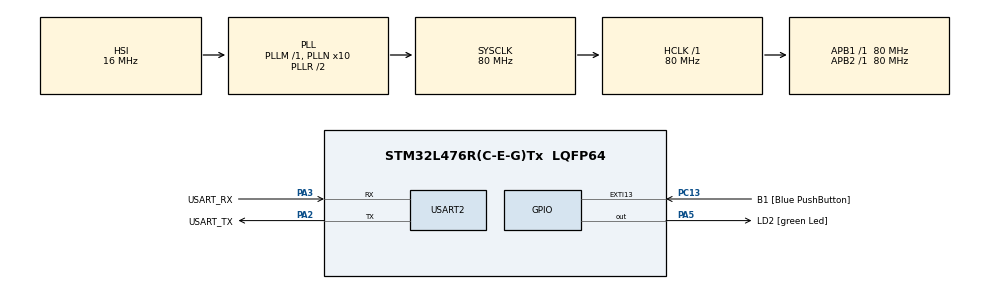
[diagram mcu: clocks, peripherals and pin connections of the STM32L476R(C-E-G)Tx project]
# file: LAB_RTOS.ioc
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FREERTOS.Tasks01=defaultTask,8,128,StartDefaultTask,Default,NULL,Dynamic,NULL,NULL;Blink1Task,24,128,Blink1,Default,NULL,Dynamic,NULL,NULL;Blink2Task,24,128,Blink2,Default,NULL,Dynamic,NULL,NULL;TriggTask,40,128,Trigg,Default,NULL,Dynamic,NULL,NULL;UserbuttonTask,40,128,Userbutton,Default,NULL,Dynamic,NULL,NULL
FREERTOS.configTOTAL_HEAP_SIZE=4000
FREERTOS.configUSE_NEWLIB_REENTRANT=1
Mcu.Family=STM32L4
Mcu.Name=STM32L476R(C-E-G)Tx
Mcu.Package=LQFP64
NVIC.PriorityGroup=NVIC_PRIORITYGROUP_4
NVIC.TIM1_UP_TIM16_IRQn=true\:15\:0\:false\:false\:true\:false\:false\:true\:true
NVIC.TimeBase=TIM1_UP_TIM16_IRQn
NVIC.TimeBaseIP=TIM1
PA13\ (JTMS-SWDIO).GPIO_Label=TMS
PA13\ (JTMS-SWDIO).Mode=Serial_Wire
PA13\ (JTMS-SWDIO).Signal=SYS_JTMS-SWDIO
PA14\ (JTCK-SWCLK).GPIO_Label=TCK
PA14\ (JTCK-SWCLK).Mode=Serial_Wire
PA14\ (JTCK-SWCLK).Signal=SYS_JTCK-SWCLK
PA2.GPIO_Label=USART_TX
PA2.GPIO_Mode=GPIO_MODE_AF_PP
PA2.GPIO_PuPd=GPIO_NOPULL
PA2.GPIO_Speed=GPIO_SPEED_FREQ_VERY_HIGH
PA2.Mode=Asynchronous
PA2.Signal=USART2_TX
PA3.GPIO_Label=USART_RX
PA3.GPIO_Mode=GPIO_MODE_AF_PP
PA3.GPIO_PuPd=GPIO_NOPULL
PA3.GPIO_Speed=GPIO_SPEED_FREQ_VERY_HIGH
PA3.Mode=Asynchronous
PA3.Signal=USART2_RX
PA5.GPIO_Label=LD2 [green Led]
PA5.GPIO_ModeDefaultOutputPP=GPIO_MODE_OUTPUT_PP
PA5.GPIO_PuPd=GPIO_NOPULL
PA5.GPIO_Speed=GPIO_SPEED_FREQ_LOW
PA5.Signal=GPIO_Output
PB3\ (JTDO-TRACESWO).GPIO_Label=SWO
PB3\ (JTDO-TRACESWO).Signal=SYS_JTDO-SWO
PC13.GPIO_Label=B1 [Blue PushButton]
PC13.GPIO_ModeDefaultEXTI=GPIO_MODE_IT_FALLING
PC13.GPIO_PuPd=GPIO_NOPULL
PC13.Signal=GPXTI13
PC14-OSC32_IN\ (PC14).Mode=LSE-External-Oscillator
PC14-OSC32_IN\ (PC14).Signal=RCC_OSC32_IN
PC15-OSC32_OUT\ (PC15).Mode=LSE-External-Oscillator
PC15-OSC32_OUT\ (PC15).Signal=RCC_OSC32_OUT
PH0-OSC_IN\ (PH0).Signal=RCC_OSC_IN
PH1-OSC_OUT\ (PH1).Signal=RCC_OSC_OUT
ProjectManager.HeapSize=0x200
ProjectManager.StackSize=0x400
ProjectManager.TargetToolchain=STM32CubeIDE
RCC.ADCFreq_Value=64000000
RCC.AHBFreq_Value=80000000
RCC.APB1Freq_Value=80000000
RCC.APB1TimFreq_Value=80000000
RCC.APB2Freq_Value=80000000
RCC.APB2TimFreq_Value=80000000
RCC.CortexFreq_Value=80000000
RCC.HCLKFreq_Value=80000000
RCC.HSE_VALUE=8000000
RCC.HSI_VALUE=16000000
RCC.MSI_VALUE=4000000
RCC.PLLN=10
RCC.PLLSourceVirtual=RCC_PLLSOURCE_HSI
RCC.PREFETCH_ENABLE=1
RCC.SYSCLKFreq_VALUE=80000000
RCC.SYSCLKSource=RCC_SYSCLKSOURCE_PLLCLK
RCC.USBFreq_Value=64000000
RCC.VCOOutputFreq_Value=160000000
USART2.VirtualMode-Asynchronous=VM_ASYNC
VP_FREERTOS_VS_CMSIS_V2.Mode=CMSIS_V2
VP_SYS_VS_tim1.Mode=TIM1
board=NUCLEO-L476RG

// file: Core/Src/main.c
/* USER CODE BEGIN Header */
/**
  ******************************************************************************
  * @file           : main.c
  * @brief          : Main program body
  ******************************************************************************
  * @attention
  *
  * Copyright (c) 2026 STMicroelectronics.
  * All rights reserved.
  *
  * This software is licensed under terms that can be found in the LICENSE file
  * in the root directory of this software component.
  * If no LICENSE file comes with this software, it is provided AS-IS.
  *
  ******************************************************************************
  */
/* USER CODE END Header */
#include "main.h"
#include "cmsis_os.h"
#include "usart.h"
#include "gpio.h"

void SystemClock_Config(void);
void MX_FREERTOS_Init(void);

int main(void)
{

  /* MCU Configuration--------------------------------------------------------*/

  /* Reset of all peripherals, Initializes the Flash interface and the Systick. */
  HAL_Init();

  /* Configure the system clock */
  SystemClock_Config();

  /* Initialize all configured peripherals */
  MX_GPIO_Init();
  MX_USART2_UART_Init();

  /* Init scheduler */
  osKernelInitialize();  /* Call init function for freertos objects (in cmsis_os2.c) */
  MX_FREERTOS_Init();

  /* Start scheduler */
  osKernelStart();

  /* We should never get here as control is now taken by the scheduler */

  /* Infinite loop */
  while (1)
  {

  }
}

void SystemClock_Config(void)
{
  RCC_OscInitTypeDef RCC_OscInitStruct = {0};
  RCC_ClkInitTypeDef RCC_ClkInitStruct = {0};

  /** Configure the main internal regulator output voltage
  */
  if (HAL_PWREx_ControlVoltageScaling(PWR_REGULATOR_VOLTAGE_SCALE1) != HAL_OK)
  {
    Error_Handler();
  }

  /** Initializes the RCC Oscillators according to the specified parameters
  * in the RCC_OscInitTypeDef structure.
  */
  RCC_OscInitStruct.OscillatorType = RCC_OSCILLATORTYPE_HSI;
  RCC_OscInitStruct.HSIState = RCC_HSI_ON;
  RCC_OscInitStruct.HSICalibrationValue = RCC_HSICALIBRATION_DEFAULT;
  RCC_OscInitStruct.PLL.PLLState = RCC_PLL_ON;
  RCC_OscInitStruct.PLL.PLLSource = RCC_PLLSOURCE_HSI;
  RCC_OscInitStruct.PLL.PLLM = 1;
  RCC_OscInitStruct.PLL.PLLN = 10;
  RCC_OscInitStruct.PLL.PLLP = RCC_PLLP_DIV7;
  RCC_OscInitStruct.PLL.PLLQ = RCC_PLLQ_DIV2;
  RCC_OscInitStruct.PLL.PLLR = RCC_PLLR_DIV2;
  if (HAL_RCC_OscConfig(&RCC_OscInitStruct) != HAL_OK)
  {
    Error_Handler();
  }

  /** Initializes the CPU, AHB and APB buses clocks
  */
  RCC_ClkInitStruct.ClockType = RCC_CLOCKTYPE_HCLK|RCC_CLOCKTYPE_SYSCLK
                              |RCC_CLOCKTYPE_PCLK1|RCC_CLOCKTYPE_PCLK2;
  RCC_ClkInitStruct.SYSCLKSource = RCC_SYSCLKSOURCE_PLLCLK;
  RCC_ClkInitStruct.AHBCLKDivider = RCC_SYSCLK_DIV1;
  RCC_ClkInitStruct.APB1CLKDivider = RCC_HCLK_DIV1;
  RCC_ClkInitStruct.APB2CLKDivider = RCC_HCLK_DIV1;

  if (HAL_RCC_ClockConfig(&RCC_ClkInitStruct, FLASH_LATENCY_4) != HAL_OK)
  {
    Error_Handler();
  }
}

void HAL_TIM_PeriodElapsedCallback(TIM_HandleTypeDef *htim)
{
  if (htim->Instance == TIM1)
  {
    HAL_IncTick();
  }
}

void Error_Handler(void)
{
  __disable_irq();
  while (1)
  {
  }
}

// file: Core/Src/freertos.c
/* USER CODE BEGIN Header */
/**
  ******************************************************************************
  * File Name          : freertos.c
  * Description        : Code for freertos applications
  ******************************************************************************
  * @attention
  *
  * Copyright (c) 2026 STMicroelectronics.
  * All rights reserved.
  *
  * This software is licensed under terms that can be found in the LICENSE file
  * in the root directory of this software component.
  * If no LICENSE file comes with this software, it is provided AS-IS.
  *
  ******************************************************************************
  */
/* USER CODE END Header */

#include "FreeRTOS.h"
#include "task.h"
#include "main.h"
#include "cmsis_os.h"

/* USER CODE BEGIN Variables */
uint8_t varBlink1 = 0;
uint8_t varBlink2 = 0;
uint8_t varBlink3 = 0;
/* USER CODE END Variables */
/* Definitions for defaultTask */
osThreadId_t defaultTaskHandle;
const osThreadAttr_t defaultTask_attributes = {
  .name = "defaultTask",
  .stack_size = 128 * 4,
  .priority = (osPriority_t) osPriorityLow,
};
/* Definitions for Blink1Task */
osThreadId_t Blink1TaskHandle;
const osThreadAttr_t Blink1Task_attributes = {
  .name = "Blink1Task",
  .stack_size = 128 * 4,
  .priority = (osPriority_t) osPriorityNormal,
};
/* Definitions for Blink2Task */
osThreadId_t Blink2TaskHandle;
const osThreadAttr_t Blink2Task_attributes = {
  .name = "Blink2Task",
  .stack_size = 128 * 4,
  .priority = (osPriority_t) osPriorityNormal,
};
/* Definitions for TriggTask */
osThreadId_t TriggTaskHandle;
const osThreadAttr_t TriggTask_attributes = {
  .name = "TriggTask",
  .stack_size = 128 * 4,
  .priority = (osPriority_t) osPriorityHigh,
};
/* Definitions for UserbuttonTask */
osThreadId_t UserbuttonTaskHandle;
const osThreadAttr_t UserbuttonTask_attributes = {
  .name = "UserbuttonTask",
  .stack_size = 128 * 4,
  .priority = (osPriority_t) osPriorityHigh,
};

/* USER CODE BEGIN FunctionPrototypes */
void wait_cycles(uint32_t n);
/* USER CODE END FunctionPrototypes */

void StartDefaultTask(void *argument);
void Blink1(void *argument);
void Blink2(void *argument);
void Trigg(void *argument);
void Userbutton(void *argument);

void MX_FREERTOS_Init(void); /* (MISRA C 2004 rule 8.1) */

void MX_FREERTOS_Init(void) {

  /* Create the thread(s) */
  /* creation of defaultTask */
  defaultTaskHandle = osThreadNew(StartDefaultTask, NULL, &defaultTask_attributes);

  /* creation of Blink1Task */
  Blink1TaskHandle = osThreadNew(Blink1, NULL, &Blink1Task_attributes);

  /* creation of Blink2Task */
  Blink2TaskHandle = osThreadNew(Blink2, NULL, &Blink2Task_attributes);

  /* creation of TriggTask */
  TriggTaskHandle = osThreadNew(Trigg, NULL, &TriggTask_attributes);

  /* creation of UserbuttonTask */
  UserbuttonTaskHandle = osThreadNew(Userbutton, NULL, &UserbuttonTask_attributes);

}

void StartDefaultTask(void *argument)
{
  for(;;)
  {
    osDelay(1);
  }
}

void Blink1(void *argument)
{
  /* USER CODE BEGIN Blink1 */
	TickType_t xLastWakeTime;
	const TickType_t xPeriod = pdMS_TO_TICKS(10);

	xLastWakeTime = xTaskGetTickCount();
  /* Infinite loop */
  for(;;)
  {
	  varBlink1 = 1;
	  wait_cycles(200000);
	  varBlink1 = 0;
	  vTaskDelayUntil(&xLastWakeTime, xPeriod);
  }
  /* USER CODE END Blink1 */
}

void Blink2(void *argument)
{
  /* USER CODE BEGIN Blink2 */
	TickType_t xLastWakeTime;
	const TickType_t xPeriod = pdMS_TO_TICKS(20);

	xLastWakeTime = xTaskGetTickCount();
  /* Infinite loop */
  for(;;)
  {
	  varBlink2 = 1;
	  wait_cycles(400000);
	  varBlink2 = 0;
	  vTaskDelayUntil(&xLastWakeTime, xPeriod);
  }
  /* USER CODE END Blink2 */
}

void Trigg(void *argument)
{
  /* USER CODE BEGIN Trigg */
	TickType_t xLastWakeTime;
	TickType_t xPeriod = pdMS_TO_TICKS(200); // ms to ticks
	// Initialise the xLastWakeTime variable with the current time.
	xLastWakeTime = xTaskGetTickCount();

  /* Infinite loop */
  for(;;)
  {
	  vTaskDelayUntil(&xLastWakeTime, xPeriod);
	  wait_cycles(10); //add a breakpoint in this line
  }
  /* USER CODE END Trigg */
}

void Userbutton(void *argument)
{
  /* USER CODE BEGIN Userbutton */
	TickType_t xLastWakeTime;
	const TickType_t xPeriod = pdMS_TO_TICKS(20);

	xLastWakeTime = xTaskGetTickCount();
  /* Infinite loop */
  for(;;)
  {
	  if (HAL_GPIO_ReadPin(B1_GPIO_Port, B1_Pin)==GPIO_PIN_RESET)
	  {
		  varBlink3 = 1;
		  wait_cycles(250000);
		  varBlink3 = 0;
	  }
	  vTaskDelayUntil(&xLastWakeTime, xPeriod);

  }
  /* USER CODE END Userbutton */
}

/* USER CODE BEGIN Application */
void wait_cycles(uint32_t n)
{
	uint32_t l = n/3; //cycles per loop is 3
	asm volatile( "0:" "SUBS %[count], 1;" "BNE 0b;" :[count]"+r"(l) );
}
/* USER CODE END Application */
